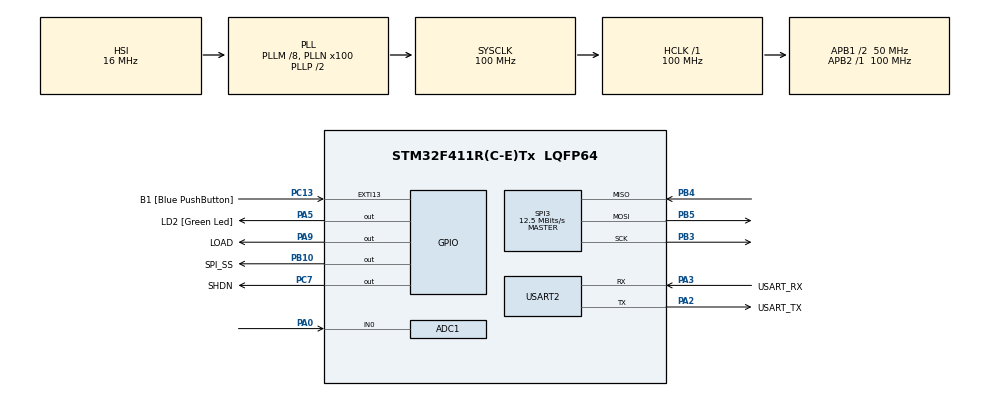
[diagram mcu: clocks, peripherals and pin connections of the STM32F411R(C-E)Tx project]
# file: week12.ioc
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ADC1.Channel-0\#ChannelRegularConversion=ADC_CHANNEL_0
ADC1.DMAContinuousRequests=ENABLE
ADC1.ExternalTrigConv=ADC_EXTERNALTRIGCONV_T3_TRGO
ADC1.NbrOfConversion=1
ADC1.NbrOfConversionFlag=1
ADC1.Rank-0\#ChannelRegularConversion=1
ADC1.SamplingTime-0\#ChannelRegularConversion=ADC_SAMPLETIME_3CYCLES
ADC1.ScanConvMode=ENABLE
ADC1.master=1
Dma.ADC1.0.Direction=DMA_PERIPH_TO_MEMORY
Dma.ADC1.0.FIFOMode=DMA_FIFOMODE_DISABLE
Dma.ADC1.0.Instance=DMA2_Stream0
Dma.ADC1.0.MemDataAlignment=DMA_MDATAALIGN_HALFWORD
Dma.ADC1.0.MemInc=DMA_MINC_ENABLE
Dma.ADC1.0.Mode=DMA_CIRCULAR
Dma.ADC1.0.PeriphDataAlignment=DMA_PDATAALIGN_HALFWORD
Dma.ADC1.0.PeriphInc=DMA_PINC_DISABLE
Dma.ADC1.0.Priority=DMA_PRIORITY_LOW
Dma.Request0=ADC1
Mcu.Family=STM32F4
Mcu.Name=STM32F411R(C-E)Tx
Mcu.Package=LQFP64
NVIC.ADC_IRQn=true\:0\:0\:false\:false\:true\:true\:true
NVIC.DMA2_Stream0_IRQn=true\:0\:0\:false\:false\:true\:false\:true
NVIC.PriorityGroup=NVIC_PRIORITYGROUP_0
NVIC.SPI3_IRQn=true\:0\:0\:false\:false\:true\:true\:true
NVIC.TIM1_TRG_COM_TIM11_IRQn=true\:0\:0\:false\:false\:true\:true\:true
NVIC.USART2_IRQn=true\:0\:0\:false\:false\:true\:true\:true
PA0-WKUP.Signal=ADCx_IN0
PA13.GPIO_Label=TMS
PA13.Mode=Serial_Wire
PA13.Signal=SYS_JTMS-SWDIO
PA14.GPIO_Label=TCK
PA14.Mode=Serial_Wire
PA14.Signal=SYS_JTCK-SWCLK
PA2.GPIO_Label=USART_TX
PA2.Mode=Asynchronous
PA2.Signal=USART2_TX
PA3.GPIO_Label=USART_RX
PA3.Mode=Asynchronous
PA3.Signal=USART2_RX
PA5.GPIO_Label=LD2 [Green Led]
PA5.Signal=GPIO_Output
PA9.GPIO_Label=LOAD
PA9.PinState=GPIO_PIN_SET
PA9.Signal=GPIO_Output
PB10.GPIO_Label=SPI_SS
PB10.PinState=GPIO_PIN_SET
PB10.Signal=GPIO_Output
PB3.Mode=Full_Duplex_Master
PB3.Signal=SPI3_SCK
PB4.Mode=Full_Duplex_Master
PB4.Signal=SPI3_MISO
PB5.Mode=Full_Duplex_Master
PB5.Signal=SPI3_MOSI
PC13-ANTI_TAMP.GPIO_Label=B1 [Blue PushButton]
PC13-ANTI_TAMP.GPIO_ModeDefaultEXTI=GPIO_MODE_IT_FALLING
PC13-ANTI_TAMP.Signal=GPXTI13
PC14-OSC32_IN.Mode=LSE-External-Oscillator
PC14-OSC32_IN.Signal=RCC_OSC32_IN
PC15-OSC32_OUT.Mode=LSE-External-Oscillator
PC15-OSC32_OUT.Signal=RCC_OSC32_OUT
PC7.GPIO_Label=SHDN
PC7.PinState=GPIO_PIN_SET
PC7.Signal=GPIO_Output
PH0\ -\ OSC_IN.Mode=HSE-External-Clock-Source
PH0\ -\ OSC_IN.Signal=RCC_OSC_IN
PH1\ -\ OSC_OUT.Mode=HSE-External-Clock-Source
PH1\ -\ OSC_OUT.Signal=RCC_OSC_OUT
ProjectManager.HeapSize=0x200
ProjectManager.StackSize=0x400
ProjectManager.TargetToolchain=STM32CubeIDE
RCC.48MHZClocksFreq_Value=50000000
RCC.AHBFreq_Value=100000000
RCC.APB1CLKDivider=RCC_HCLK_DIV2
RCC.APB1Freq_Value=50000000
RCC.APB1TimFreq_Value=100000000
RCC.APB2Freq_Value=100000000
RCC.APB2TimFreq_Value=100000000
RCC.CortexFreq_Value=100000000
RCC.FLatency-AdvancedSettings=FLASH_LATENCY_3
RCC.HCLKFreq_Value=100000000
RCC.HSE_VALUE=8000000
RCC.HSI_VALUE=16000000
RCC.PLLM=8
RCC.PLLN=100
RCC.SYSCLKFreq_VALUE=100000000
RCC.SYSCLKSource=RCC_SYSCLKSOURCE_PLLCLK
RCC.VCOOutputFreq_Value=200000000
SH.ADCx_IN0.0=ADC1_IN0,IN0
SPI3.BaudRatePrescaler=SPI_BAUDRATEPRESCALER_4
SPI3.CalculateBaudRate=12.5 MBits/s
SPI3.DataSize=SPI_DATASIZE_16BIT
SPI3.Direction=SPI_DIRECTION_2LINES
SPI3.Mode=SPI_MODE_MASTER
SPI3.VirtualType=VM_MASTER
TIM11.Prescaler=99
TIM3.Period=100
TIM3.Prescaler=99
USART2.VirtualMode=VM_ASYNC
VP_TIM11_VS_ClockSourceINT.Mode=Enable_Timer
VP_TIM3_VS_ClockSourceINT.Mode=Internal
board=NUCLEO-F411RE

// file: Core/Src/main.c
/* USER CODE BEGIN Header */
/**
 ******************************************************************************
 * @file           : main.c
 * @brief          : Main program body
 ******************************************************************************
 * @attention
 *
 * <h2><center>&copy; Copyright (c) 2021 STMicroelectronics.
 * All rights reserved.</center></h2>
 *
 * This software component is licensed by ST under BSD 3-Clause license,
 * the "License"; You may not use this file except in compliance with the
 * License. You may obtain a copy of the License at:
 *                        opensource.org/licenses/BSD-3-Clause
 *
 ******************************************************************************
 */
/* USER CODE END Header */
#include "main.h"

/* USER CODE BEGIN Includes */
#include <math.h>//sin cos
#include <stdio.h> //sprintf
#include <string.h>//strlen
/* USER CODE END Includes */

ADC_HandleTypeDef hadc1;
DMA_HandleTypeDef hdma_adc1;

SPI_HandleTypeDef hspi3;

TIM_HandleTypeDef htim3;
TIM_HandleTypeDef htim11;

UART_HandleTypeDef huart2;

/* USER CODE BEGIN PV */
uint16_t ADCin = 0;
uint64_t _micro = 0;
float freq = 1;
int mode = 0;
uint8_t wave = 4;
uint8_t slope = 0;
float slopeup = 0;
int duty = 0;
float v_h = 0;
float v_l = 0;
int sum_freq = 0;
int sum_VH = 0;
int sum_VL = 0;
float T = 0;
float Volt = 0;
uint32_t time = 0;
uint64_t timestamp_Saw = 0;
float Amp = 0;
float pie = 3.14;

//12bit of DAC
//uint16_t dataOut = 0;
float dataOut = 0;
float Output = 0;
//upper 4 bit of DAC
uint8_t DACConfig = 0b0011;

//UART
char TxDataBuffer[32] ={ 0 };
char RxDataBuffer[32] ={ 0 };
char Menu[1000] ={ 0 };
enum
{
	start_Menu = 1,
	wait_input = 2,
	Menu_0 = 3,
	Menu_0_wait_input = 33,
	Menu_1 = 4,
	Menu_1_wait_input = 44,
	Menu_2 = 5,
	Menu_2_wait_input = 55,
};
uint8_t state = 1;
/* USER CODE END PV */

void SystemClock_Config(void);
static void MX_GPIO_Init(void);
static void MX_DMA_Init(void);
static void MX_USART2_UART_Init(void);
static void MX_SPI3_Init(void);
static void MX_ADC1_Init(void);
static void MX_TIM3_Init(void);
static void MX_TIM11_Init(void);
/* USER CODE BEGIN PFP */
void UARTRecieveAndResponsePolling();
int16_t UARTRecieveIT();
void MCP4922SetOutput(uint8_t Config, uint16_t DACOutput);
uint64_t micros();
/* USER CODE END PFP */

int main(void)
{

  /* MCU Configuration--------------------------------------------------------*/

  /* Reset of all peripherals, Initializes the Flash interface and the Systick. */
  HAL_Init();

  /* Configure the system clock */
  SystemClock_Config();

  /* Initialize all configured peripherals */
  MX_GPIO_Init();
  MX_DMA_Init();
  MX_USART2_UART_Init();
  MX_SPI3_Init();
  MX_ADC1_Init();
  MX_TIM3_Init();
  MX_TIM11_Init();
  /* USER CODE BEGIN 2 */
	HAL_TIM_Base_Start(&htim3);
	HAL_TIM_Base_Start_IT(&htim11);
	HAL_ADC_Start_DMA(&hadc1, (uint32_t*) &ADCin, 1);

	HAL_GPIO_WritePin(LOAD_GPIO_Port, LOAD_Pin, GPIO_PIN_RESET);
  /* USER CODE END 2 */

  /* Infinite loop */
  /* USER CODE BEGIN WHILE */
	while (1)
	{
		/*Method 2 Interrupt Mode*/
		HAL_UART_Receive_IT(&huart2,  (uint8_t*)RxDataBuffer, 64);

		/*Method 2 W/ 1 Char Received*/
		int16_t inputchar = UARTRecieveIT();
		if(inputchar!=-1)
		{
			//Display Input
			sprintf(TxDataBuffer, "%c\r\n", inputchar);
			HAL_UART_Transmit(&huart2, (uint8_t*)TxDataBuffer, strlen(TxDataBuffer), 1000);
		}
		/////////////////////////////////////////////////////////////////////////////////////////////////

		/*MENU*/
		switch(state)
		{
		case start_Menu:
			sprintf(Menu, "Menu\r\n 0.Sawtooth\n\r 1.Sine wave\n\r 2.Square wave\n\r");
			HAL_UART_Transmit(&huart2, (uint8_t*)Menu, strlen(Menu), 1000);
			state = wait_input;
			break;
		case wait_input:
			switch(inputchar)
			{
			case -1:  //No Input
				break;
			case '0':
//				v_h = 0;
//				v_l = 0;
//				freq = 0;
				wave = 0;
				state = Menu_0;
				break;
			case '1':
				wave = 1;
				state = Menu_1;
				break;
			case '2':
				wave = 2;
				state = Menu_2;
				break;
			default:
				sprintf(Menu, "Error! You can press only 0. 1. or 2.\r\n");
				HAL_UART_Transmit(&huart2, (uint8_t*)Menu, strlen(Menu), 1000);
				break;
			}
			break;
		case Menu_0:
			sprintf(Menu, "Sawtooth\r\n a.freq Up +1Hz\r\n s.freq up +0.1Hz\r\n"
					      " d.freq down -1Hz\r\n f.freq down -0.1Hz\r\n"
						  " q.V high up +0.1V\r\n w.V high down -0.1V\r\n e.V low up +0.1V\r\n"
						  " r.V low down -0.1V\r\n 0.Slope up\r\n 1.Slope down\r\n x.back\r\n");
			HAL_UART_Transmit(&huart2, (uint8_t*)Menu, strlen(Menu), 1000);
			state = Menu_0_wait_input;
			break;
		case Menu_0_wait_input:
			switch(inputchar)
			{
			case -1:  //No Input
				break;
			case 'a':
				freq +=1;
				sum_freq = (freq*10.0)-(((int)freq)*10);
				sprintf(Menu, "Freq %d.%d Hz\r\n",(int)freq,sum_freq);
				HAL_UART_Transmit(&huart2, (uint8_t*)Menu, strlen(Menu), 1000);
				break;
			case 's':
				freq +=0.1;
				sum_freq = (freq*10.0)-(((int)freq)*10);
				sprintf(Menu, "Freq %d.%d Hz\r\n",(int)freq,sum_freq);
				HAL_UART_Transmit(&huart2, (uint8_t*)Menu, strlen(Menu), 1000);
				break;
			case 'd':
				freq -=1;
				if(freq <= 0)
				{
					freq = 0;
				}
				sum_freq = (freq*10.0)-(((int)freq)*10);
				sprintf(Menu, "Freq %d.%d Hz\r\n",(int)freq,sum_freq);
				HAL_UART_Transmit(&huart2, (uint8_t*)Menu, strlen(Menu), 1000);
				break;
			case 'f':
				freq -=0.1;
				if(freq <= 0)
				{
					freq = 0;
				}
				sum_freq = (freq*10.0)-(((int)freq)*10);
				sprintf(Menu, "Freq %d.%d Hz\r\n",(int)freq,sum_freq);
				HAL_UART_Transmit(&huart2, (uint8_t*)Menu, strlen(Menu), 1000);
				break;
			case 'q':
				v_h +=0.1;
				sum_VH = (v_h*10.0)-(((int)v_h)*10);
				sprintf(Menu, "V high up %d.%d V\r\n",(int)v_h,sum_VH);
				HAL_UART_Transmit(&huart2, (uint8_t*)Menu, strlen(Menu), 1000);
				break;
			case 'w':
				v_h -=0.1;
				if(v_h <= 0)
				{
					v_h = 0;
				}
				sum_VH = (v_h*10.0)-(((int)v_h)*10);
				sprintf(Menu, "V high down %d.%d V\r\n",(int)v_h,sum_VH);
				HAL_UART_Transmit(&huart2, (uint8_t*)Menu, strlen(Menu), 1000);
				break;
			case 'e':
				v_l +=0.1;
				sum_VL = (v_l*10.0)-(((int)v_l)*10);
				sprintf(Menu, "V low up %d.%d V\r\n",(int)v_l,sum_VL);
				HAL_UART_Transmit(&huart2, (uint8_t*)Menu, strlen(Menu), 1000);
				break;
			case 'r':
				v_l -=0.1;
				if(v_l <= 0)
				{
					v_l = 0;
				}
				sum_VL = (v_l*10.0)-(((int)v_l)*10);
				sprintf(Menu, "V low down %d.%d V\r\n",(int)v_l,sum_VL);
				HAL_UART_Transmit(&huart2, (uint8_t*)Menu, strlen(Menu), 1000);
				break;
			case '0':
				slope = 0;
				sprintf(Menu, "Slope down\r\n");
				HAL_UART_Transmit(&huart2, (uint8_t*)Menu, strlen(Menu), 1000);
				break;
			case '1':
				slope = 1;
				sprintf(Menu, "Slope up\r\n");
				HAL_UART_Transmit(&huart2, (uint8_t*)Menu, strlen(Menu), 1000);
				break;
			case 'x':
				state = start_Menu;
				break;
			default:
				sprintf(Menu, "Error!\r\n");
				HAL_UART_Transmit(&huart2, (uint8_t*)Menu, strlen(Menu), 1000);
				break;
			}
			break;

		case Menu_1:
			sprintf(Menu, "Sine wave\r\n a.freq Up +1Hz\r\n s.freq up +0.1Hz\r\n"
					      " d.freq down -1Hz\r\n f.freq down -0.1Hz\r\n"
						  " q.V high up +0.1V\r\n w.V high down -0.1V\r\n"
						  " e.V low up +0.1V\r\n r.V low down -0.1V\r\n x.back\r\n");
			HAL_UART_Transmit(&huart2, (uint8_t*)Menu, strlen(Menu), 1000);
			state = Menu_1_wait_input;
			break;
		case Menu_1_wait_input:
			switch(inputchar)
			{
			case -1:  //No Input
				break;
			case 'a':
				freq +=1;
				sum_freq = (freq*10.0)-(((int)freq)*10);
				sprintf(Menu, "Freq %d.%d Hz\r\n",(int)freq,sum_freq);
				HAL_UART_Transmit(&huart2, (uint8_t*)Menu, strlen(Menu), 1000);
				break;
			case 's':
				freq +=0.1;
				sum_freq = (freq*10.0)-(((int)freq)*10);
				sprintf(Menu, "Freq %d.%d Hz\r\n",(int)freq,sum_freq);
				HAL_UART_Transmit(&huart2, (uint8_t*)Menu, strlen(Menu), 1000);
				break;
			case 'd':
				freq -=1;
				if(freq <= 0)
				{
					freq = 0;
				}
				sum_freq = (freq*10.0)-(((int)freq)*10);
				sprintf(Menu, "Freq %d.%d Hz\r\n",(int)freq,sum_freq);
				HAL_UART_Transmit(&huart2, (uint8_t*)Menu, strlen(Menu), 1000);
				break;
			case 'f':
				freq -=0.1;
				if(freq <= 0)
				{
					freq = 0;
				}
				sum_freq = (freq*10.0)-(((int)freq)*10);
				sprintf(Menu, "Freq %d.%d Hz\r\n",(int)freq,sum_freq);
				HAL_UART_Transmit(&huart2, (uint8_t*)Menu, strlen(Menu), 1000);
				break;
			case 'q':
				v_h +=0.1;
				sum_VH = (v_h*10.0)-(((int)v_h)*10);
				sprintf(Menu, "V high up %d.%d V\r\n",(int)v_h,sum_VH);
				HAL_UART_Transmit(&huart2, (uint8_t*)Menu, strlen(Menu), 1000);
				break;
			case 'w':
				v_h -=0.1;
				if(v_h <= 0)
				{
					v_h = 0;
				}
				sum_VH = (v_h*10.0)-(((int)v_h)*10);
				sprintf(Menu, "V high down %d.%d V\r\n",(int)v_h,sum_VH);
				HAL_UART_Transmit(&huart2, (uint8_t*)Menu, strlen(Menu), 1000);
				break;
			case 'e':
				v_l +=0.1;
				sum_VL = (v_l*10.0)-(((int)v_l)*10);
				sprintf(Menu, "V low up %d.%d V\r\n",(int)v_l,sum_VL);
				HAL_UART_Transmit(&huart2, (uint8_t*)Menu, strlen(Menu), 1000);
				break;
			case 'r':
				v_l -=0.1;
				if(v_l <= 0)
				{
					v_l = 0;
				}
				sum_VL = (v_l*10.0)-(((int)v_l)*10);
				sprintf(Menu, "V low down %d.%d V\r\n",(int)v_l,sum_VL);
				HAL_UART_Transmit(&huart2, (uint8_t*)Menu, strlen(Menu), 1000);
				break;
			case 'x':
				state = start_Menu;
				break;
			default:
				sprintf(Menu, "Error!\r\n");
				HAL_UART_Transmit(&huart2, (uint8_t*)Menu, strlen(Menu), 1000);
				break;
			}
			break;
		case Menu_2:
			sprintf(Menu, "Square wave\r\n a.freq Up +1Hz\r\n s.freq up +0.1Hz\r\n"
						  " d.freq down -1Hz\r\n f.freq down -0.1Hz\r\n"
						  " q.V high up +0.1V\r\n w.V high down -0.1V\r\n e.V low up +0.1V\r\n"
						  " r.V low down -0.1V\r\n 0.Duty cycle up +10%\r\n"
						  " 1.Duty cycle down -10%\r\n x.back\r\n");
			HAL_UART_Transmit(&huart2, (uint8_t*)Menu, strlen(Menu), 1000);
			state = Menu_2_wait_input;
			break;
		case Menu_2_wait_input:
			switch(inputchar)
			{
			case -1:  //No Input
				break;
			case 'a':
				freq +=1;
				sum_freq = (freq*10.0)-(((int)freq)*10);
				sprintf(Menu, "Freq %d.%d Hz\r\n",(int)freq,sum_freq);
				HAL_UART_Transmit(&huart2, (uint8_t*)Menu, strlen(Menu), 1000);
				break;
			case 's':
				freq +=0.1;
				sum_freq = (freq*10.0)-(((int)freq)*10);
				sprintf(Menu, "Freq %d.%d Hz\r\n",(int)freq,sum_freq);
				HAL_UART_Transmit(&huart2, (uint8_t*)Menu, strlen(Menu), 1000);
				break;
			case 'd':
				freq -=1;
				if(freq <= 0)
				{
					freq = 0;
				}
				sum_freq = (freq*10.0)-(((int)freq)*10);
				sprintf(Menu, "Freq %d.%d Hz\r\n",(int)freq,sum_freq);
				HAL_UART_Transmit(&huart2, (uint8_t*)Menu, strlen(Menu), 1000);
				break;
			case 'f':
				freq -=0.1;
				if(freq <= 0)
				{
					freq = 0;
				}
				sum_freq = (freq*10.0)-(((int)freq)*10);
				sprintf(Menu, "Freq %d.%d Hz\r\n",(int)freq,sum_freq);
				HAL_UART_Transmit(&huart2, (uint8_t*)Menu, strlen(Menu), 1000);
				break;
			case 'q':
				v_h +=0.1;
				sum_VH = (v_h*10.0)-(((int)v_h)*10);
				sprintf(Menu, "V high up %d.%d V\r\n",(int)v_h,sum_VH);
				HAL_UART_Transmit(&huart2, (uint8_t*)Menu, strlen(Menu), 1000);
				break;
			case 'w':
				v_h -=0.1;
				if(v_h <= 0)
				{
					v_h = 0;
				}
				sum_VH = (v_h*10.0)-(((int)v_h)*10);
				sprintf(Menu, "V high down %d.%d V\r\n",(int)v_h,sum_VH);
				HAL_UART_Transmit(&huart2, (uint8_t*)Menu, strlen(Menu), 1000);
				break;
			case 'e':
				v_l +=0.1;
				sum_VL = (v_l*10.0)-(((int)v_l)*10);
				sprintf(Menu, "V low up %d.%d V\r\n",(int)v_l,sum_VL);
				HAL_UART_Transmit(&huart2, (uint8_t*)Menu, strlen(Menu), 1000);
				break;
			case 'r':
				v_l -=0.1;
				if(v_l <= 0)
				{
					v_l = 0;
				}
				sum_VL = (v_l*10.0)-(((int)v_l)*10);
				sprintf(Menu, "V low down %d.%d V\r\n",(int)v_l,sum_VL);
				HAL_UART_Transmit(&huart2, (uint8_t*)Menu, strlen(Menu), 1000);
				break;
			case '0':
				duty -= 10;
				if(duty <= 0)
				{
					duty = 0;
				}
				sprintf(Menu, "Duty %d %%\r\n",duty);
				HAL_UART_Transmit(&huart2, (uint8_t*)Menu, strlen(Menu), 1000);
				break;
			case '1':
				duty += 10;
				if(duty >= 100)
				{
					duty = 100;
				}
				sprintf(Menu, "Duty %d %%\r\n",duty);
				HAL_UART_Transmit(&huart2, (uint8_t*)Menu, strlen(Menu), 1000);
				break;
			case 'x':
				state = start_Menu;
				break;
			default:
				sprintf(Menu, "Error!\r\n");
				HAL_UART_Transmit(&huart2, (uint8_t*)Menu, strlen(Menu), 1000);
				break;
			}
			break;
		}

		/*Mode 0 1 2 transmit data to DAC*/
		Volt = ADCin*3.3/4095.0;

		static uint64_t timestamp = 0;

		if (micros() - timestamp > 1000)//1000000us = +1  , 1000us = +0.001
		{
			Amp = (v_h - v_l);
			if(Amp <= 0)
			{
				Amp = 0;
			}
			timestamp = micros();

	//////////////////////////////////////////////////////////////////////////////////////////
			/*Saw tooth*/
			if(wave == 0)
			{
				time = time+1;
				if(freq == 0)
				{
					dataOut = (Amp/2)+v_l;
				}
				else
				{
					if(slope == 1)
					{
						slopeup = ((time*0.001)*freq*Amp) + v_l;
						dataOut = slopeup;
						if (dataOut >= v_h)
						{
							dataOut = v_l;
							time = 0;
						}
					}
					else
					{
						slopeup = ((time*0.001)*freq*Amp) + v_l;
						dataOut = (v_h - slopeup)+v_l;// (Max - graphslope) + v_l
						if ( slopeup >= v_h)
						{
							slopeup = v_l;
							time = 0;
						}
					}
				}

				Output = dataOut*4095/3.3;
				if (hspi3.State == HAL_SPI_STATE_READY
					&& HAL_GPIO_ReadPin(SPI_SS_GPIO_Port, SPI_SS_Pin)== GPIO_PIN_SET)
				{
					MCP4922SetOutput(DACConfig, Output);
				}
			}

	///////////////////////////////////////////////////////////////////////////////////
			/*Sine wave*/
			else if(wave == 1)
			{
				time = time+1;
				if(freq == 0)
				{
					dataOut = (Amp/2) + v_l;
				}
				else
				{
					dataOut = v_l+(Amp/2)+(Amp/2*sin(2*3.14*freq*time*0.001));//x= v_l+A+sin(2*pi*f*t)
				}
				Output = dataOut*4095/3.3;
				if (hspi3.State == HAL_SPI_STATE_READY
					&& HAL_GPIO_ReadPin(SPI_SS_GPIO_Port, SPI_SS_Pin)== GPIO_PIN_SET)
				{
					MCP4922SetOutput(DACConfig, Output);
				}
			}
	////////////////////////////////////////////////////////////////////////////////////////////////
			/*Square wave*/
			else if(wave == 2)
			{
				time = time+1;
				if(freq == 0)
				{
					dataOut = (Amp/2) + v_l;
				}
				else
				{
					T = duty/freq/100.0;
					if( (time*0.001) <= T)
					{
						dataOut = v_h;
					}
					else if((time*0.001) >= T && (time*0.001) <= 1/freq)// 1/f = time -> xxx sec/pulse
					{
						dataOut = v_l;
					}
					else
					{
						time = 0; // time >= 1/f -> 1 pulse -> reset time
					}
				}
				Output = dataOut*4095/3.3;
				if (hspi3.State == HAL_SPI_STATE_READY
					&& HAL_GPIO_ReadPin(SPI_SS_GPIO_Port, SPI_SS_Pin)== GPIO_PIN_SET)
				{
					MCP4922SetOutput(DACConfig, Output);
				}
			}
			else
			{
				Output = 0.0;
				if (hspi3.State == HAL_SPI_STATE_READY
					&& HAL_GPIO_ReadPin(SPI_SS_GPIO_Port, SPI_SS_Pin)== GPIO_PIN_SET)
				{
					MCP4922SetOutput(DACConfig, Output);
				}
			}
		}
		/* Ex */
//		static uint64_t timestamp = 0;
//		if (micros() - timestamp > 100)
//		{
//			timestamp = micros();
//			dataOut++;
//			dataOut %= 4096;
//			if (hspi3.State == HAL_SPI_STATE_READY
//					&& HAL_GPIO_ReadPin(SPI_SS_GPIO_Port, SPI_SS_Pin)
//							== GPIO_PIN_SET)
//			{
//				MCP4922SetOutput(DACConfig, dataOut);
//			}
//		}
    /* USER CODE END WHILE */

	}
}

void SystemClock_Config(void)
{
  RCC_OscInitTypeDef RCC_OscInitStruct = {0};
  RCC_ClkInitTypeDef RCC_ClkInitStruct = {0};

  /** Configure the main internal regulator output voltage
  */
  __HAL_RCC_PWR_CLK_ENABLE();
  __HAL_PWR_VOLTAGESCALING_CONFIG(PWR_REGULATOR_VOLTAGE_SCALE1);
  /** Initializes the RCC Oscillators according to the specified parameters
  * in the RCC_OscInitTypeDef structure.
  */
  RCC_OscInitStruct.OscillatorType = RCC_OSCILLATORTYPE_HSI;
  RCC_OscInitStruct.HSIState = RCC_HSI_ON;
  RCC_OscInitStruct.HSICalibrationValue = RCC_HSICALIBRATION_DEFAULT;
  RCC_OscInitStruct.PLL.PLLState = RCC_PLL_ON;
  RCC_OscInitStruct.PLL.PLLSource = RCC_PLLSOURCE_HSI;
  RCC_OscInitStruct.PLL.PLLM = 8;
  RCC_OscInitStruct.PLL.PLLN = 100;
  RCC_OscInitStruct.PLL.PLLP = RCC_PLLP_DIV2;
  RCC_OscInitStruct.PLL.PLLQ = 4;
  if (HAL_RCC_OscConfig(&RCC_OscInitStruct) != HAL_OK)
  {
    Error_Handler();
  }
  /** Initializes the CPU, AHB and APB buses clocks
  */
  RCC_ClkInitStruct.ClockType = RCC_CLOCKTYPE_HCLK|RCC_CLOCKTYPE_SYSCLK
                              |RCC_CLOCKTYPE_PCLK1|RCC_CLOCKTYPE_PCLK2;
  RCC_ClkInitStruct.SYSCLKSource = RCC_SYSCLKSOURCE_PLLCLK;
  RCC_ClkInitStruct.AHBCLKDivider = RCC_SYSCLK_DIV1;
  RCC_ClkInitStruct.APB1CLKDivider = RCC_HCLK_DIV2;
  RCC_ClkInitStruct.APB2CLKDivider = RCC_HCLK_DIV1;

  if (HAL_RCC_ClockConfig(&RCC_ClkInitStruct, FLASH_LATENCY_3) != HAL_OK)
  {
    Error_Handler();
  }
}

static void MX_ADC1_Init(void)
{

  ADC_ChannelConfTypeDef sConfig = {0};

  /** Configure the global features of the ADC (Clock, Resolution, Data Alignment and number of conversion)
  */
  hadc1.Instance = ADC1;
  hadc1.Init.ClockPrescaler = ADC_CLOCK_SYNC_PCLK_DIV4;
  hadc1.Init.Resolution = ADC_RESOLUTION_12B;
  hadc1.Init.ScanConvMode = ENABLE;
  hadc1.Init.ContinuousConvMode = DISABLE;
  hadc1.Init.DiscontinuousConvMode = DISABLE;
  hadc1.Init.ExternalTrigConvEdge = ADC_EXTERNALTRIGCONVEDGE_RISING;
  hadc1.Init.ExternalTrigConv = ADC_EXTERNALTRIGCONV_T3_TRGO;
  hadc1.Init.DataAlign = ADC_DATAALIGN_RIGHT;
  hadc1.Init.NbrOfConversion = 1;
  hadc1.Init.DMAContinuousRequests = ENABLE;
  hadc1.Init.EOCSelection = ADC_EOC_SEQ_CONV;
  if (HAL_ADC_Init(&hadc1) != HAL_OK)
  {
    Error_Handler();
  }
  /** Configure for the selected ADC regular channel its corresponding rank in the sequencer and its sample time.
  */
  sConfig.Channel = ADC_CHANNEL_0;
  sConfig.Rank = 1;
  sConfig.SamplingTime = ADC_SAMPLETIME_3CYCLES;
  if (HAL_ADC_ConfigChannel(&hadc1, &sConfig) != HAL_OK)
  {
    Error_Handler();
  }

}

static void MX_SPI3_Init(void)
{

  /* SPI3 parameter configuration*/
  hspi3.Instance = SPI3;
  hspi3.Init.Mode = SPI_MODE_MASTER;
  hspi3.Init.Direction = SPI_DIRECTION_2LINES;
  hspi3.Init.DataSize = SPI_DATASIZE_16BIT;
  hspi3.Init.CLKPolarity = SPI_POLARITY_LOW;
  hspi3.Init.CLKPhase = SPI_PHASE_1EDGE;
  hspi3.Init.NSS = SPI_NSS_SOFT;
  hspi3.Init.BaudRatePrescaler = SPI_BAUDRATEPRESCALER_32;
  hspi3.Init.FirstBit = SPI_FIRSTBIT_MSB;
  hspi3.Init.TIMode = SPI_TIMODE_DISABLE;
  hspi3.Init.CRCCalculation = SPI_CRCCALCULATION_DISABLE;
  hspi3.Init.CRCPolynomial = 10;
  if (HAL_SPI_Init(&hspi3) != HAL_OK)
  {
    Error_Handler();
  }

}

static void MX_TIM3_Init(void)
{

  TIM_ClockConfigTypeDef sClockSourceConfig = {0};
  TIM_MasterConfigTypeDef sMasterConfig = {0};

  htim3.Instance = TIM3;
  htim3.Init.Prescaler = 100;
  htim3.Init.CounterMode = TIM_COUNTERMODE_UP;
  htim3.Init.Period = 100;
  htim3.Init.ClockDivision = TIM_CLOCKDIVISION_DIV1;
  htim3.Init.AutoReloadPreload = TIM_AUTORELOAD_PRELOAD_DISABLE;
  if (HAL_TIM_Base_Init(&htim3) != HAL_OK)
  {
    Error_Handler();
  }
  sClockSourceConfig.ClockSource = TIM_CLOCKSOURCE_INTERNAL;
  if (HAL_TIM_ConfigClockSource(&htim3, &sClockSourceConfig) != HAL_OK)
  {
    Error_Handler();
  }
  sMasterConfig.MasterOutputTrigger = TIM_TRGO_UPDATE;
  sMasterConfig.MasterSlaveMode = TIM_MASTERSLAVEMODE_DISABLE;
  if (HAL_TIMEx_MasterConfigSynchronization(&htim3, &sMasterConfig) != HAL_OK)
  {
    Error_Handler();
  }

}

static void MX_TIM11_Init(void)
{

  htim11.Instance = TIM11;
  htim11.Init.Prescaler = 100;
  htim11.Init.CounterMode = TIM_COUNTERMODE_UP;
  htim11.Init.Period = 65535;
  htim11.Init.ClockDivision = TIM_CLOCKDIVISION_DIV1;
  htim11.Init.AutoReloadPreload = TIM_AUTORELOAD_PRELOAD_DISABLE;
  if (HAL_TIM_Base_Init(&htim11) != HAL_OK)
  {
    Error_Handler();
  }

}

static void MX_USART2_UART_Init(void)
{

  huart2.Instance = USART2;
  huart2.Init.BaudRate = 115200;
  huart2.Init.WordLength = UART_WORDLENGTH_8B;
  huart2.Init.StopBits = UART_STOPBITS_1;
  huart2.Init.Parity = UART_PARITY_NONE;
  huart2.Init.Mode = UART_MODE_TX_RX;
  huart2.Init.HwFlowCtl = UART_HWCONTROL_NONE;
  huart2.Init.OverSampling = UART_OVERSAMPLING_16;
  if (HAL_UART_Init(&huart2) != HAL_OK)
  {
    Error_Handler();
  }

}

static void MX_DMA_Init(void)
{

  /* DMA controller clock enable */
  __HAL_RCC_DMA2_CLK_ENABLE();

  /* DMA interrupt init */
  /* DMA2_Stream0_IRQn interrupt configuration */
  HAL_NVIC_SetPriority(DMA2_Stream0_IRQn, 0, 0);
  HAL_NVIC_EnableIRQ(DMA2_Stream0_IRQn);

}

static void MX_GPIO_Init(void)
{
  GPIO_InitTypeDef GPIO_InitStruct = {0};

  /* GPIO Ports Clock Enable */
  __HAL_RCC_GPIOC_CLK_ENABLE();
  __HAL_RCC_GPIOH_CLK_ENABLE();
  __HAL_RCC_GPIOA_CLK_ENABLE();
  __HAL_RCC_GPIOB_CLK_ENABLE();

  /*Configure GPIO pin Output Level */
  HAL_GPIO_WritePin(LD2_GPIO_Port, LD2_Pin, GPIO_PIN_RESET);

  /*Configure GPIO pin Output Level */
  HAL_GPIO_WritePin(SPI_SS_GPIO_Port, SPI_SS_Pin, GPIO_PIN_SET);

  /*Configure GPIO pin Output Level */
  HAL_GPIO_WritePin(SHDN_GPIO_Port, SHDN_Pin, GPIO_PIN_SET);

  /*Configure GPIO pin Output Level */
  HAL_GPIO_WritePin(LOAD_GPIO_Port, LOAD_Pin, GPIO_PIN_SET);

  /*Configure GPIO pin : B1_Pin */
  GPIO_InitStruct.Pin = B1_Pin;
  GPIO_InitStruct.Mode = GPIO_MODE_IT_FALLING;
  GPIO_InitStruct.Pull = GPIO_NOPULL;
  HAL_GPIO_Init(B1_GPIO_Port, &GPIO_InitStruct);

  /*Configure GPIO pins : LD2_Pin LOAD_Pin */
  GPIO_InitStruct.Pin = LD2_Pin|LOAD_Pin;
  GPIO_InitStruct.Mode = GPIO_MODE_OUTPUT_PP;
  GPIO_InitStruct.Pull = GPIO_NOPULL;
  GPIO_InitStruct.Speed = GPIO_SPEED_FREQ_LOW;
  HAL_GPIO_Init(GPIOA, &GPIO_InitStruct);

  /*Configure GPIO pin : SPI_SS_Pin */
  GPIO_InitStruct.Pin = SPI_SS_Pin;
  GPIO_InitStruct.Mode = GPIO_MODE_OUTPUT_PP;
  GPIO_InitStruct.Pull = GPIO_NOPULL;
  GPIO_InitStruct.Speed = GPIO_SPEED_FREQ_LOW;
  HAL_GPIO_Init(SPI_SS_GPIO_Port, &GPIO_InitStruct);

  /*Configure GPIO pin : SHDN_Pin */
  GPIO_InitStruct.Pin = SHDN_Pin;
  GPIO_InitStruct.Mode = GPIO_MODE_OUTPUT_PP;
  GPIO_InitStruct.Pull = GPIO_NOPULL;
  GPIO_InitStruct.Speed = GPIO_SPEED_FREQ_LOW;
  HAL_GPIO_Init(SHDN_GPIO_Port, &GPIO_InitStruct);

}

/* USER CODE BEGIN 4 */
void MCP4922SetOutput(uint8_t Config, uint16_t DACOutput)
{
	uint32_t OutputPacket = (DACOutput & 0x0fff) | ((Config & 0xf) << 12);
	HAL_GPIO_WritePin(SPI_SS_GPIO_Port, SPI_SS_Pin, GPIO_PIN_RESET);
	HAL_SPI_Transmit_IT(&hspi3, &OutputPacket, 1);
}

void HAL_SPI_TxCpltCallback(SPI_HandleTypeDef *hspi)
{
	if (hspi == &hspi3)
	{
		HAL_GPIO_WritePin(SPI_SS_GPIO_Port, SPI_SS_Pin, GPIO_PIN_SET);
	}
}

void HAL_TIM_PeriodElapsedCallback(TIM_HandleTypeDef *htim)
{
	if (htim == &htim11)
	{
		_micro += 65535;
	}
}

inline uint64_t micros()
{
	return htim11.Instance->CNT + _micro;
}

int16_t UARTRecieveIT()
{
	static uint32_t dataPos =0;
	int16_t data=-1;
	if(huart2.RxXferSize - huart2.RxXferCount!=dataPos)
	{
		data=RxDataBuffer[dataPos];
		dataPos= (dataPos+1)%huart2.RxXferSize;
	}
	return data;
}

void HAL_UART_RxCpltCallback(UART_HandleTypeDef *huart)
{
	sprintf(TxDataBuffer, "Received:[%s]\r\n", RxDataBuffer);
	HAL_UART_Transmit(&huart2, (uint8_t*)TxDataBuffer, strlen(TxDataBuffer), 1000);
}
/* USER CODE END 4 */

void Error_Handler(void)
{
	__disable_irq();
	while (1)
	{
	}
}

/************************ (C) COPYRIGHT STMicroelectronics *****END OF FILE****/
